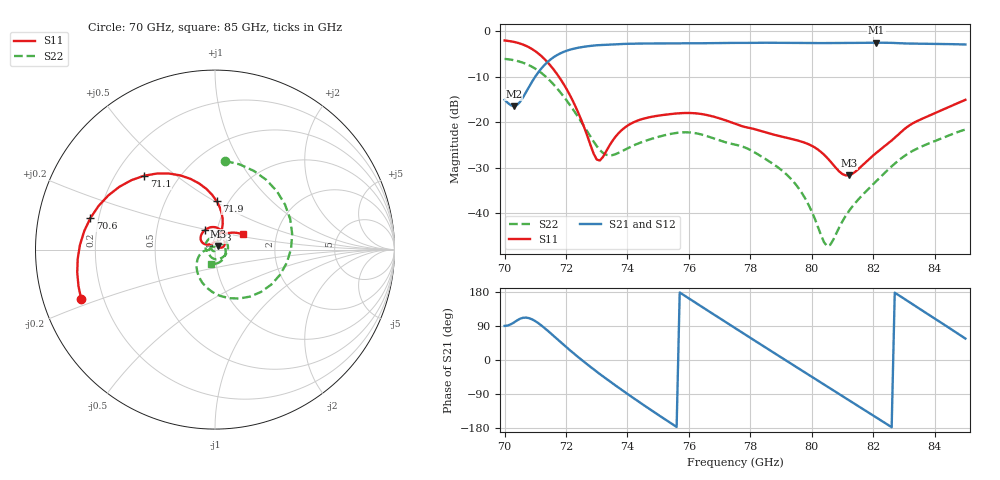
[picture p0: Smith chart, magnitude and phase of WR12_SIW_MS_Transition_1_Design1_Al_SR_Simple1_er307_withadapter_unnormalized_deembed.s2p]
! Touchstone file exported from HFSS 2020.1.3
!  File:  /home/erdoel/scratch/P2S30/WR12_SIW_MS_Transition_1.aedt
!  Generated:  9:53:58 AM  Feb 20, 2021
!  Design:  Design1_Al_SR_Simple1_er307_withadapter
!  Project:  WR12_SIW_MS_Transition_1
!  Setup:  Setup1
!  Solution:  Sweep
! Variables:
!  T_L2 = 35um
!  fil = 0.3mm
!  hm = 0.36mm
!  hsub = 0.127mm
!  hwg = 1.55mm
!  l1 = 1.05mm
!  lcav = 1.92mm
!  len50 = 20mm
!  lt = 0.7mm
!  offx = 0um
!  offy = 0um
!  rvia = 0.075mm
!  s1 = 1.33mm
!  shift = 20um
!  sl = 3.1mm
!  sy = 0.65mm
!  th = 35um
!  w1 = 1.17mm
!  w50 = 300um
!  wcav = 3.45mm
!  wm = 1.9mm
!  wslot = 1.5mm
!  wt = 0.6mm
!  wwg = 3.1mm
!Data is not renormalized
# GHZ S DB
! Terminal data exported
! Port[1] = _WG
! Port[2] = MS
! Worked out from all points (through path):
!   151 points, 70 GHz to 85 GHz, reference per port
!   highest |S21| = -2.49 dB at 82.1 GHz (marker M1); lowest = -16.4 dB at 70.3 GHz (marker M2)
!   lowest |S11| = -31.7 dB at 81.2 GHz (marker M3), VSWR 1.05
!   |S11| at or under -10 dB: 71.77 GHz to end of sweep
!   |S22| runs from -47.3 to -6.1 dB; largest |S21 - S12| = 2.6e-14
!   S11 on the Smith chart (normalised r, x): 70 GHz: 0.12, -0.18; 70.6 GHz: 0.17, +0.12; 71.1 GHz: 0.32, +0.39; 71.9 GHz: 0.88, +0.51; 75.3 GHz: 0.87, +0.19; 85 GHz: 1.34, +0.24
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70  -1.99 -159.6  -15.04 90.0  -15.04 90.0  -6.07 83.5
! Gamma 0.293031670858095 1044.04649637786 0 0 0 0 12.5622149762365 2316.28912923302
! Port Impedance538.160444643315 0.0908278484594028 0 0 0 0 48.1833695338523 -0.179535125325385
70.3  -2.31 -176.2  -16.44 98.8  -16.44 98.8  -6.33 53.6
70.6  -2.90 165.7  -14.51 111.5  -14.51 111.5  -6.90 22.1
71.1  -4.88 133.8  -8.98 97.1  -8.98 97.1  -8.66 -31.9
71.9  -11.36 88.1  -4.57 41.8  -4.57 41.8  -14.13 -111.4
72.5  -19.55 70.9  -3.47 0.7  -3.47 0.7  -19.96 -156.0
73.1  -28.41 121.4  -3.01 -37.1  -3.01 -37.1  -26.09 -174.6
73.8  -21.79 150.8  -2.77 -78.1  -2.77 -78.1  -26.41 -177.9
74.4  -19.46 138.7  -2.68 -111.9  -2.68 -111.9  -24.53 153.2
75  -18.54 124.7  -2.65 -144.7  -2.65 -144.7  -23.22 114.5
75.3  -18.27 117.6  -2.64 -160.8  -2.64 -160.8  -22.70 93.2
76.3  -18.08 90.0  -2.61 146.7  -2.61 146.7  -22.51 16.8
77.5  -20.30 60.0  -2.53 84.1  -2.53 84.1  -24.91 -66.5
78.8  -22.79 41.1  -2.51 17.2  -2.51 17.2  -29.45 -172.3
80  -25.17 22.7  -2.57 -44.2  -2.57 -44.2  -39.66 80.4
80.5  -27.83 16.3  -2.57 -69.7  -2.57 -69.7  -47.26 -11.7
81.2  -31.68 45.1  -2.54 -105.5  -2.54 -105.5  -39.62 -124.6
82.1  -26.72 72.0  -2.49 -151.8  -2.49 -151.8  -32.95 156.7
82.5  -24.56 72.8  -2.51 -172.2  -2.51 -172.2  -30.32 119.0
83.2  -20.58 64.3  -2.67 151.3  -2.67 151.3  -26.62 52.6
83.9  -18.31 49.9  -2.71 114.8  -2.71 114.8  -24.41 -8.7
85  -15.06 28.8  -2.88 56.6  -2.88 56.6  -21.60 -106.8
